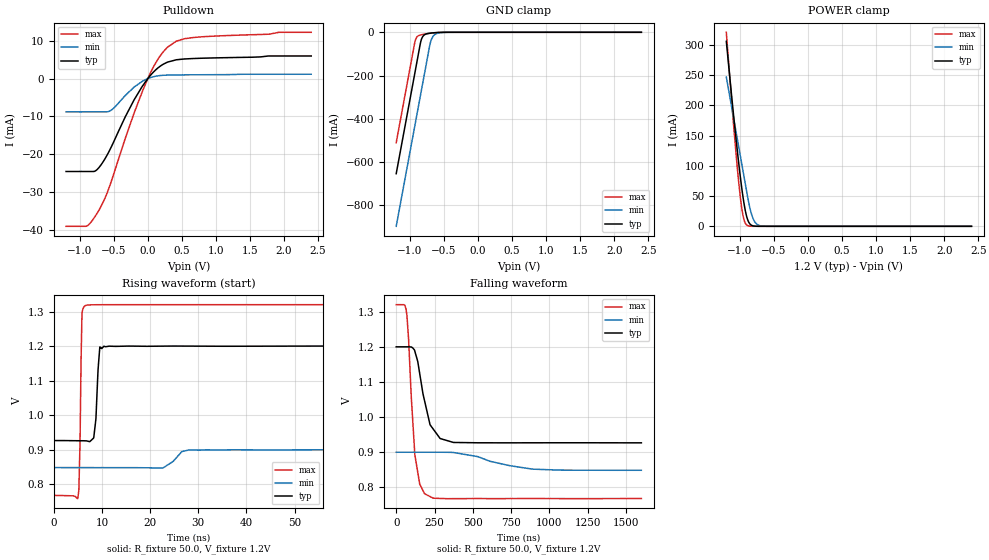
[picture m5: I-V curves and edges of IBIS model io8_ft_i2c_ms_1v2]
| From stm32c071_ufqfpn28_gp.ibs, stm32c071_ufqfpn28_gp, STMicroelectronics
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[Model]   io8_ft_i2c_ms_1v2
Model_type I/O_open_drain
Polarity   Non-Inverting
Enable   Active-Low
| CAP_THRESHOLD on pad IOFT is "UDTCAPC" :
| Rising=30.0% of vddiom   Falling=70.0% of vddiom
| C_comp min and max val. don't necessarily correlate with the min and max pvt
| but are the smallest and greatest pad capacitance found.
| var   typ   min   max
C_comp   1.89950pF  1.76120pF  1.92600pF
|C_comp_pulldown   1.89950pF  1.76120pF  1.92600pF
Vinl = 450.0mV
Vinh = 660.0mV
Vmeas = 600.0mV   | Reference voltage for timing measurements
Cref  = 50.0pF   | Timing specification test load capacitance value
Rref  = 1.0MOhm   | Timing specification test load resistance value
Vref  = 660.0mV   | Timing specification test load voltage
[Model Spec]
| TIME_THRESHOLD on pin ZII2CV12 is "CMOS" :
| Rising=50.0% of vdd   Falling=50.0% of vdd
Vinl 458.70000mV 361.70000mV 499.70000mV
Vinh 728.30000mV 549.30000mV 792.30000mV
| variable   typ   min   max
[Temperature Range] 25.0 125.0 -40.0
| variable   typ   min   max
[Voltage Range] 1.2V 900.0mV 1.32V
| variable   typ   min   max
[POWER Clamp Reference] 1.2V 900.0mV 1.32V
| variable   typ   min   max
[GND Clamp Reference] 0V 0V 0V
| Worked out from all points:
|   slope of the pulldown table from 0 to 0.18 V, typ, clamps not added: 55.2 ohm
|   GND clamp passes 1 mA (typ) near -0.58 V on its own axis
|   POWER clamp passes 1 mA (typ) near -0.81 V on its own axis
|   rising waveform, R_fixture 50.0, V_fixture 1.2V: 20-80 % time 586ps typ, 2.32ns min, 360ps max; typ from 0.927 V to 1.2 V
|   falling waveform, R_fixture 50.0, V_fixture 1.2V: 20-80 % time 73.7ns typ, 281ns min, 44.7ns max; typ from 1.2 V to 0.927 V
[POWER Clamp]
-1.2V     306.2mA    246.9mA    321.2mA
-1.09V    180mA      177.2mA    163.4mA
-1.05V    136.9mA    151.8mA    110.9mA
-1.01V    96.55mA    126.4mA    64.02mA
-960mV    52.29mA    94.73mA    20.68mA
-930mV    31.08mA    75.71mA    7.282mA
-900mV    15.67mA    56.69mA    2.025mA
-860mV    4.779mA    33.42mA    315.2uA
-810mV    823.2uA    13.62mA    29.21uA
-760mV    129.2uA    4.248mA    2.687uA
-690mV    9.442uA    651.7uA    95.02nA
2.4V      0A         0A         0A
[GND Clamp]
-1.2V     -654.2mA   -897.4mA   -510.5mA
-920mV    -178.2mA   -421.4mA   -38.03mA
-890mV    -127.2mA   -370.4mA   -19.79mA
-840mV    -43.84mA   -285.4mA   -12.07mA
-820mV    -25.28mA   -251.4mA   -10.64mA
-780mV    -10.73mA   -183.4mA   -8.317mA
-700mV    -3.985mA   -50.14mA   -4.515mA
-670mV    -2.94mA    -24.28mA   -3.345mA
-640mV    -2.115mA   -12.33mA   -2.341mA
-570mV    -791.5uA   -2.935mA   -746.3uA
-440mV    -36.45uA   -184.1uA   -16.55uA
2.4V      342.4pA    36.99nA    239.3pA
| variable   typ   min   max
[Pullup Reference] 1.2V 900.0mV 1.32V
| variable   typ   min   max
[Pulldown Reference] 0V 0V 0V
[Pulldown]
-1.2V     -24.6mA    -8.807mA   -39.12mA
-890mV    -24.6mA    -8.807mA   -39.02mA
-780mV    -24.54mA   -8.807mA   -36.66mA
-710mV    -23.4mA    -8.807mA   -34.61mA
-530mV    -17.87mA   -8.266mA   -26.91mA
-330mV    -10.09mA   -4.455mA   -15.79mA
-80mV     -2.02mA    -710uA     -3.413mA
110mV     2.211mA    605.8uA    3.97mA
290mV     4.374mA    930.4uA    8.331mA
420mV     4.991mA    971.3uA    9.931mA
670mV     5.322mA    1.008mA    10.89mA
2.4V      5.995mA    1.165mA    12.27mA
[Ramp]
dV/dt_r 163.70059mV/585.55596ps 30.97313mV/2.32353ns 331.19383mV/360.01449ps
dV/dt_f 163.97464mV/73.74671ns 30.83052mV/251.89915ns 331.11844mV/44.74248ns
R_load = 50.0
| Removed startup time: 0s 0s 0s  .
| Removed end time: 79.75ns.
[Rising Waveform]
R_fixture   = 50.0
V_fixture   = 1.2V
V_fixture_min = 900.0mV
V_fixture_max = 1.32V
0s        926.8mV    848.6mV    768mV
5ns       926.4mV    848.6mV    762.6mV
5.2ns     926.3mV    848.6mV    784.3mV
5.4ns     926.3mV    848.6mV    897.2mV
5.85ns    926.3mV    848.6mV    1.295V
6.5ns     926.1mV    848.6mV    1.317V
8.3ns     936.2mV    848.6mV    1.32V
9.6ns     1.198V     848.5mV    1.32V
28.05ns   1.2V       899.6mV    1.32V
79.75ns   1.2V       900.3mV    1.32V
| Removed startup time: 0s 0s 0s  .
| Removed end time: 1.5996us.
[Falling Waveform]
R_fixture   = 50.0
V_fixture   = 1.2V
V_fixture_min = 900.0mV
V_fixture_max = 1.32V
0s        1.2V       900mV      1.32V
64.2ns    1.2V       900mV      1.307V
80.7ns    1.2V       900mV      1.223V
121.8ns   1.187V     900mV      891.7mV
153.3ns   1.124V     900mV      809.4mV
185.6ns   1.045V     900mV      781.7mV
220.8ns   978.2mV    900mV      773.9mV
373.4ns   927.8mV    899.3mV    767.9mV
888.8ns   926.8mV    851.9mV    768.1mV
1.6us     926.7mV    848.6mV    768.1mV
